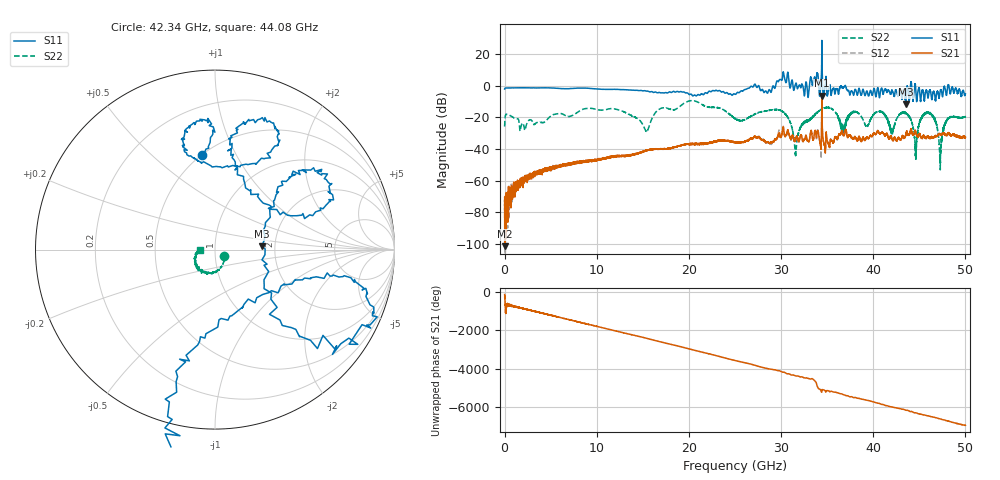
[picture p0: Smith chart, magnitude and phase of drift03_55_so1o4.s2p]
!Created with skrf (http://scikit-rf.org).
# Hz S RI R 50.0
!freq ReS11 ImS11 ReS21 ImS21 ReS12 ImS12 ReS22 ImS22
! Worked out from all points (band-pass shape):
!   10000 points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, 5.3 MHz to 50 GHz, reference 50 ohm
!   highest |S21| = -6.41 dB at 34.43 GHz (marker M1); lowest = -101.6 dB at 20.3 MHz (marker M2)
!   |S21| within 3 dB of the highest: 34.4275 GHz to 34.43461 GHz (7.109 MHz wide, 0.0206 % of centre)
!   lowest |S11| = -11.7 dB at 43.52 GHz (marker M3), VSWR 1.70, Z = 85 + j3.54 ohm
!   |S11| at or under -10 dB: 43.48627 GHz to 43.54415 GHz (57.89 MHz wide, 0.133 % of centre); 44.70829 GHz to 44.71152 GHz (3.229 MHz wide, 0.00722 % of centre); 45.13488 GHz to 45.1409 GHz (6.015 MHz wide, 0.0133 % of centre)
!   |S22| runs from -53.2 to -9.4 dB; largest |S21 - S12| = 0.14
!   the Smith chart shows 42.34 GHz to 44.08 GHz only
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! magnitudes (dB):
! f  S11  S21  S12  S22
! 5.3 MHz  -2.1  -72.4  -83.6  -25.8
! 20.3 MHz  -1.9  -101.6  -78.8  -23.9
! 2.175 GHz  -1.3  -59.5  -59.1  -27.8
! 8.34 GHz  -1.5  -47.8  -48.1  -15.3
! 15.39 GHz  -3.4  -40.9  -40.7  -29.0
! 16.67 GHz  -4.4  -40.1  -40.1  -15.3
! 20.45 GHz  -6.5  -37.1  -36.7  -9.5
! 25.01 GHz  -5.5  -35.8  -35.8  -20.7
! 29.93 GHz  4.0  -32.4  -31.8  -15.6
! 31.59 GHz  1.4  -33.9  -34.1  -43.8
! 33.34 GHz  2.6  -30.3  -30.4  -20.2
! 34.43 GHz  28.6  -6.4  -8.4  -14.5
! 36.71 GHz  -1.4  -30.3  -30.2  -28.2
! 37.94 GHz  -4.5  -32.9  -32.8  -16.6
! 41.67 GHz  -2.9  -33.3  -33.3  -22.6
! 43.52 GHz  -11.7  -31.4  -31.6  -17.7
! 44.61 GHz  -1.3  -29.0  -29.1  -43.4
! 45.27 GHz  -3.9  -33.2  -33.2  -20.2
! 46.25 GHz  -4.5  -32.9  -32.9  -17.8
! 47.28 GHz  -3.0  -30.7  -30.9  -46.0
! 48.14 GHz  0.6  -29.9  -30.2  -20.5
! 50 GHz  -5.2  -32.6  -32.6  -19.6
